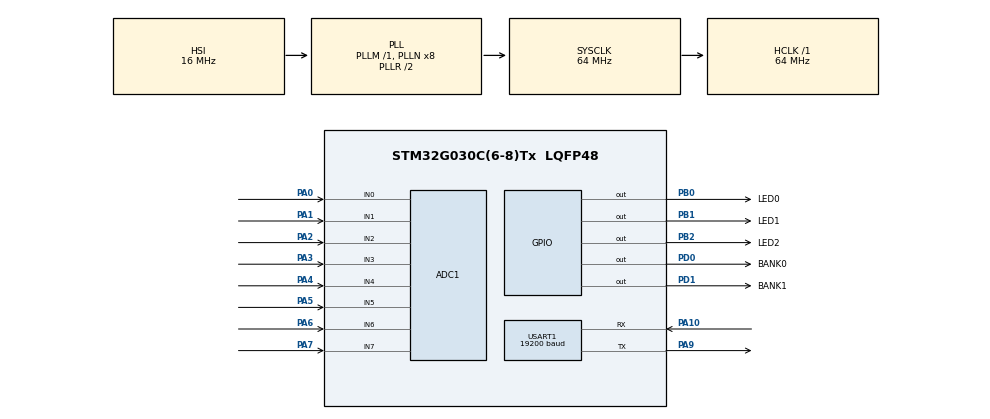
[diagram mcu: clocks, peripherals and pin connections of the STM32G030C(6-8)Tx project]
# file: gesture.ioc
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ADC1.Channel-0\#ChannelRegularConversion=ADC_CHANNEL_0
ADC1.Channel-1\#ChannelRegularConversion=ADC_CHANNEL_1
ADC1.Channel-2\#ChannelRegularConversion=ADC_CHANNEL_2
ADC1.Channel-3\#ChannelRegularConversion=ADC_CHANNEL_3
ADC1.Channel-4\#ChannelRegularConversion=ADC_CHANNEL_4
ADC1.Channel-5\#ChannelRegularConversion=ADC_CHANNEL_5
ADC1.Channel-6\#ChannelRegularConversion=ADC_CHANNEL_6
ADC1.Channel-7\#ChannelRegularConversion=ADC_CHANNEL_7
ADC1.ClockPrescaler=ADC_CLOCK_ASYNC_DIV4
ADC1.ContinuousConvMode=DISABLE
ADC1.ExternalTrigConv=ADC_EXTERNALTRIG_T3_TRGO
ADC1.NbrOfConversion=8
ADC1.NbrOfConversionFlag=1
ADC1.Rank-0\#ChannelRegularConversion=1
ADC1.Rank-1\#ChannelRegularConversion=2
ADC1.Rank-2\#ChannelRegularConversion=3
ADC1.Rank-3\#ChannelRegularConversion=4
ADC1.Rank-4\#ChannelRegularConversion=5
ADC1.Rank-5\#ChannelRegularConversion=6
ADC1.Rank-6\#ChannelRegularConversion=7
ADC1.Rank-7\#ChannelRegularConversion=8
ADC1.SamplingTime-0\#ChannelRegularConversion=ADC_SAMPLINGTIME_COMMON_1
ADC1.SamplingTime-1\#ChannelRegularConversion=ADC_SAMPLINGTIME_COMMON_1
ADC1.SamplingTime-2\#ChannelRegularConversion=ADC_SAMPLINGTIME_COMMON_1
ADC1.SamplingTime-3\#ChannelRegularConversion=ADC_SAMPLINGTIME_COMMON_1
ADC1.SamplingTime-4\#ChannelRegularConversion=ADC_SAMPLINGTIME_COMMON_1
ADC1.SamplingTime-5\#ChannelRegularConversion=ADC_SAMPLINGTIME_COMMON_1
ADC1.SamplingTime-6\#ChannelRegularConversion=ADC_SAMPLINGTIME_COMMON_1
ADC1.SamplingTime-7\#ChannelRegularConversion=ADC_SAMPLINGTIME_COMMON_1
ADC1.SelectedChannel=ADC_CHANNEL_0|ADC_CHANNEL_1|ADC_CHANNEL_2|ADC_CHANNEL_3|ADC_CHANNEL_4|ADC_CHANNEL_5|ADC_CHANNEL_6|ADC_CHANNEL_7
ADC1.master=1
Dma.ADC1.0.Direction=DMA_PERIPH_TO_MEMORY
Dma.ADC1.0.EventEnable=DISABLE
Dma.ADC1.0.Instance=DMA1_Channel1
Dma.ADC1.0.MemDataAlignment=DMA_MDATAALIGN_WORD
Dma.ADC1.0.MemInc=DMA_MINC_ENABLE
Dma.ADC1.0.Mode=DMA_CIRCULAR
Dma.ADC1.0.PeriphDataAlignment=DMA_PDATAALIGN_WORD
Dma.ADC1.0.PeriphInc=DMA_PINC_DISABLE
Dma.ADC1.0.Polarity=HAL_DMAMUX_REQ_GEN_RISING
Dma.ADC1.0.Priority=DMA_PRIORITY_LOW
Dma.ADC1.0.RequestNumber=1
Dma.ADC1.0.SignalID=NONE
Dma.ADC1.0.SyncEnable=DISABLE
Dma.ADC1.0.SyncPolarity=HAL_DMAMUX_SYNC_NO_EVENT
Dma.ADC1.0.SyncRequestNumber=1
Dma.ADC1.0.SyncSignalID=NONE
Dma.Request0=ADC1
Mcu.Family=STM32G0
Mcu.Name=STM32G030C(6-8)Tx
Mcu.Package=LQFP48
NVIC.ADC1_IRQn=true\:0\:0\:false\:false\:true\:true\:true\:true
NVIC.DMA1_Channel1_IRQn=true\:0\:0\:false\:false\:true\:false\:true\:true
NVIC.TIM3_IRQn=true\:0\:0\:false\:false\:true\:true\:true\:true
NVIC.USART1_IRQn=true\:0\:0\:false\:false\:true\:true\:true\:true
PA0.Mode=IN0
PA0.Signal=ADC1_IN0
PA1.Mode=IN1
PA1.Signal=ADC1_IN1
PA10.Mode=Asynchronous
PA10.Signal=USART1_RX
PA13.Mode=Serial_Wire
PA13.Signal=SYS_SWDIO
PA14-BOOT0.Mode=Serial_Wire
PA14-BOOT0.Signal=SYS_SWCLK
PA2.Mode=IN2
PA2.Signal=ADC1_IN2
PA3.Mode=IN3
PA3.Signal=ADC1_IN3
PA4.Mode=IN4
PA4.Signal=ADC1_IN4
PA5.Mode=IN5
PA5.Signal=ADC1_IN5
PA6.Mode=IN6
PA6.Signal=ADC1_IN6
PA7.Mode=IN7
PA7.Signal=ADC1_IN7
PA9.Mode=Asynchronous
PA9.Signal=USART1_TX
PB0.GPIO_Label=LED0
PB0.Signal=GPIO_Output
PB1.GPIO_Label=LED1
PB1.Signal=GPIO_Output
PB2.GPIO_Label=LED2
PB2.Signal=GPIO_Output
PD0.GPIO_Label=BANK0
PD0.PinState=GPIO_PIN_SET
PD0.Signal=GPIO_Output
PD1.GPIO_Label=BANK1
PD1.PinState=GPIO_PIN_SET
PD1.Signal=GPIO_Output
ProjectManager.HeapSize=0x200
ProjectManager.StackSize=0x400
ProjectManager.TargetToolchain=MDK-ARM V5.32
RCC.ADCCLockSelection=RCC_ADCCLKSOURCE_PLLADC
RCC.ADCFreq_Value=32000000
RCC.AHBFreq_Value=64000000
RCC.CortexFreq_Value=64000000
RCC.EXTERNAL_CLOCK_VALUE=12288000
RCC.HCLKFreq_Value=64000000
RCC.HSE_VALUE=8000000
RCC.HSI_VALUE=16000000
RCC.LSE_VALUE=32768
RCC.PLLP=RCC_PLLP_DIV4
RCC.SYSCLKFreq_VALUE=64000000
RCC.SYSCLKSource=RCC_SYSCLKSOURCE_PLLCLK
RCC.VCOOutputFreq_Value=128000000
TIM3.Period=1999
TIM3.Prescaler=12799
TIM3.TIM_MasterOutputTrigger=TIM_TRGO_UPDATE
USART1.BaudRate=19200
USART1.VirtualMode-Asynchronous=VM_ASYNC
VP_TIM3_VS_ClockSourceINT.Mode=Internal
board=custom

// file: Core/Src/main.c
/* USER CODE BEGIN Header */
/**
  ******************************************************************************
  * @file           : main.c
  * @brief          : Main program body
  ******************************************************************************
  * @attention
  *
  * Copyright (c) 2024 STMicroelectronics.
  * All rights reserved.
  *
  * This software is licensed under terms that can be found in the LICENSE file
  * in the root directory of this software component.
  * If no LICENSE file comes with this software, it is provided AS-IS.
  *
  ******************************************************************************
  */
/* USER CODE END Header */
#include "main.h"
#include "adc.h"
#include "dma.h"
#include "tim.h"
#include "usart.h"
#include "gpio.h"

/* USER CODE BEGIN Includes */
#include <stdio.h>
#include "string.h"
/* USER CODE END Includes */

/* USER CODE BEGIN PV */
uint32_t Data[8];
float a,b,c,d,e,f,g,h;
float Volt[16];
float temp;
uint8_t dma_end_flag=0;

/* USER CODE END PV */

void SystemClock_Config(void);

#include <math.h>

#define NUM_POINTS 200  // ???????
#define DIMENSIONS 16  // ????????
#define NUM_CLASSES 4  // ????

float distance(float* point1, float* point2) {
    float sum = 0.0;
    for (int i = 0; i < DIMENSIONS; i++) {
        sum += pow(point1[i] - point2[i], 2);
    }
    return sqrt(sum);
}

int classify(float point[DIMENSIONS], float centroids[NUM_CLASSES][DIMENSIONS]) {
    float min_dist = distance(point, centroids[0]);
    int label = 0;
    for (int i = 1; i < NUM_CLASSES; i++) {
        float dist = distance(point, centroids[i]);
        if (dist < min_dist) {
            min_dist = dist;
            label = i;
        }
    }
    return label;
}

int main(void)
{

  /* USER CODE BEGIN 1 */
  char txbuf[32];
	int len;
	int i;
  /* USER CODE END 1 */

  /* MCU Configuration--------------------------------------------------------*/

  /* Reset of all peripherals, Initializes the Flash interface and the Systick. */
  HAL_Init();

  /* Configure the system clock */
  SystemClock_Config();

  /* Initialize all configured peripherals */
  MX_GPIO_Init();
  MX_DMA_Init();
  MX_ADC1_Init();
  MX_TIM3_Init();
  MX_USART1_UART_Init();
  /* USER CODE BEGIN 2 */
  HAL_ADCEx_Calibration_Start(&hadc1);
	HAL_TIM_Base_Start(&htim3);
  /* USER CODE END 2 */
  float centroids[4][16]={{ 3.103360, 3.132240, 3.137520, 3.130160, 3.157580, 3.023960, 3.090720, 3.123980, 3.147580, 2.977720, 2.765280, 3.134740, 3.156440, 2.525060, 2.406220, 3.122400},
	{3.145294, 3.105804, 3.145569, 3.131412, 2.881627, 1.655510, 2.642333, 3.126039, 3.145627, 1.923314, 2.162745, 3.111725, 3.132235, 3.014078, 2.147471, 3.053843},
	{3.144745, 3.045596, 2.590085, 3.048000, 3.156447, 2.092915, 2.377468, 2.480170, 3.121894, 2.729213, 1.215213, 3.037511, 2.961213, 1.978681, 2.035085, 2.723426},
	{3.143423, 3.134019, 3.148635, 3.130827, 3.159212, 3.151519, 3.140269, 3.138038, 3.148135, 3.127115, 3.125981, 3.142673, 3.156327, 3.150250, 3.130712, 3.141808}};
  /* Infinite loop */
  /* USER CODE BEGIN WHILE */
  while (1)
  {
		HAL_GPIO_WritePin(LED0_GPIO_Port,LED0_Pin,0);
		HAL_GPIO_WritePin(LED1_GPIO_Port,LED1_Pin,0);
		HAL_GPIO_WritePin(LED2_GPIO_Port,LED2_Pin,0);
		HAL_GPIO_WritePin(BANK0_GPIO_Port,BANK0_Pin,1);
		HAL_GPIO_WritePin(BANK1_GPIO_Port,BANK1_Pin,0);
		HAL_ADC_Start_DMA(&hadc1,Data,8);
		HAL_Delay(400);
		if(dma_end_flag==1)
		{
			dma_end_flag=0;
			for(i=0;i<8;i++)
			{
				Volt[i]=((float)Data[i])*3.3/4090;
			}
		}
		HAL_GPIO_WritePin(BANK0_GPIO_Port,BANK0_Pin,0);
		HAL_GPIO_WritePin(BANK1_GPIO_Port,BANK1_Pin,1);
		HAL_ADC_Start_DMA(&hadc1,Data,8);
		HAL_Delay(400);
		if(dma_end_flag==1)
		{
			dma_end_flag=0;
			for(i=0;i<8;i++)
			{
				Volt[i+8]=((float)Data[i])*3.3/4090;
			}
		}
		for(i=0;i<16;i++)
		{
			memset(txbuf,0,sizeof(txbuf));
			len = sprintf(txbuf,"IN%d=%1.3f\r\n",i,Volt[i]);
		  if(len > 0)
			  HAL_UART_Transmit_IT(&huart1,(uint8_t*)txbuf,len);
			HAL_Delay(200);
		}

		int new_label = classify(Volt, centroids);
		//Cluster0 Scissors
		if(new_label == 0)
		{
			HAL_GPIO_WritePin(LED0_GPIO_Port,LED0_Pin,1);
		}
		//Cluster1 Rock
		if(new_label == 1)
		{
			HAL_GPIO_WritePin(LED1_GPIO_Port,LED1_Pin,1);
		}
		//Cluster2 Paper
		if(new_label == 2)
		{
			HAL_GPIO_WritePin(LED2_GPIO_Port,LED2_Pin,1);
		}
		//Cluster3 Nothing
		if(new_label == 3)
		{
			HAL_GPIO_WritePin(LED0_GPIO_Port,LED0_Pin,1);
			HAL_GPIO_WritePin(LED1_GPIO_Port,LED1_Pin,1);
			HAL_GPIO_WritePin(LED2_GPIO_Port,LED2_Pin,1);
		}
		HAL_Delay(500);
    /* USER CODE END WHILE */

  }
}

void SystemClock_Config(void)
{
  RCC_OscInitTypeDef RCC_OscInitStruct = {0};
  RCC_ClkInitTypeDef RCC_ClkInitStruct = {0};

  /** Configure the main internal regulator output voltage
  */
  HAL_PWREx_ControlVoltageScaling(PWR_REGULATOR_VOLTAGE_SCALE1);

  /** Initializes the RCC Oscillators according to the specified parameters
  * in the RCC_OscInitTypeDef structure.
  */
  RCC_OscInitStruct.OscillatorType = RCC_OSCILLATORTYPE_HSI;
  RCC_OscInitStruct.HSIState = RCC_HSI_ON;
  RCC_OscInitStruct.HSIDiv = RCC_HSI_DIV1;
  RCC_OscInitStruct.HSICalibrationValue = RCC_HSICALIBRATION_DEFAULT;
  RCC_OscInitStruct.PLL.PLLState = RCC_PLL_ON;
  RCC_OscInitStruct.PLL.PLLSource = RCC_PLLSOURCE_HSI;
  RCC_OscInitStruct.PLL.PLLM = RCC_PLLM_DIV1;
  RCC_OscInitStruct.PLL.PLLN = 8;
  RCC_OscInitStruct.PLL.PLLP = RCC_PLLP_DIV4;
  RCC_OscInitStruct.PLL.PLLR = RCC_PLLR_DIV2;
  if (HAL_RCC_OscConfig(&RCC_OscInitStruct) != HAL_OK)
  {
    Error_Handler();
  }

  /** Initializes the CPU, AHB and APB buses clocks
  */
  RCC_ClkInitStruct.ClockType = RCC_CLOCKTYPE_HCLK|RCC_CLOCKTYPE_SYSCLK
                              |RCC_CLOCKTYPE_PCLK1;
  RCC_ClkInitStruct.SYSCLKSource = RCC_SYSCLKSOURCE_PLLCLK;
  RCC_ClkInitStruct.AHBCLKDivider = RCC_SYSCLK_DIV1;
  RCC_ClkInitStruct.APB1CLKDivider = RCC_HCLK_DIV1;

  if (HAL_RCC_ClockConfig(&RCC_ClkInitStruct, FLASH_LATENCY_2) != HAL_OK)
  {
    Error_Handler();
  }
}

/* USER CODE BEGIN 4 */
void HAL_ADC_ConvCpltCallback(ADC_HandleTypeDef* hadc)
{
	if(hadc->Instance==ADC1)
	{
		dma_end_flag=1;
	}
}
/* USER CODE END 4 */

void Error_Handler(void)
{
  __disable_irq();
  while (1)
  {
  }
}
